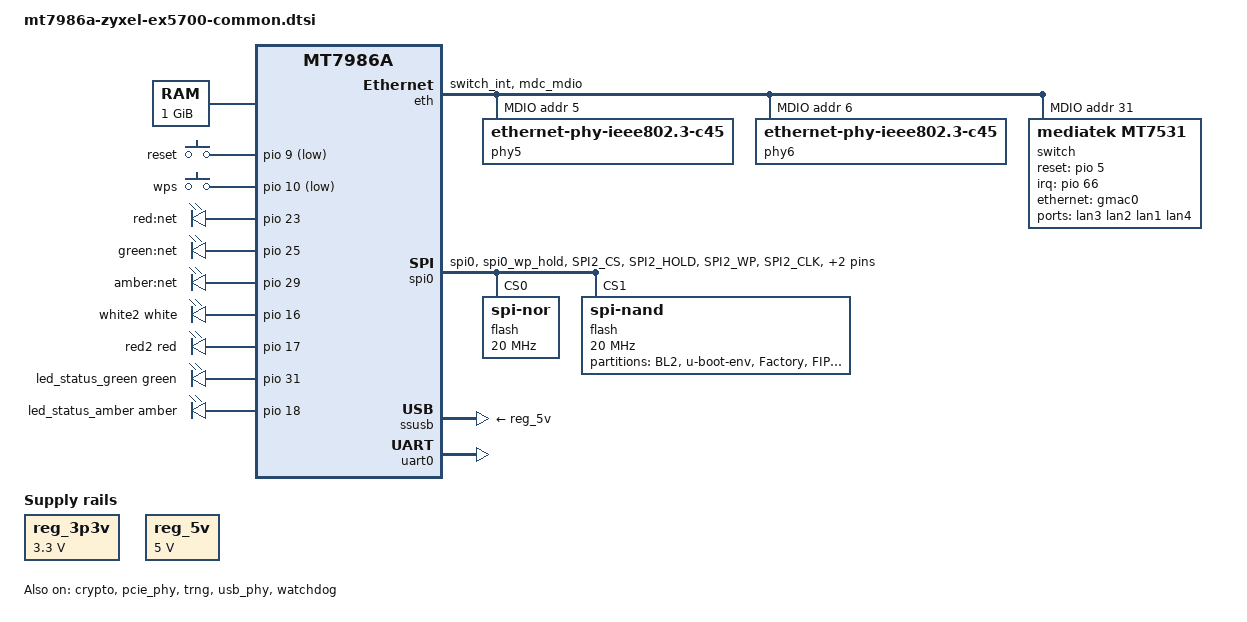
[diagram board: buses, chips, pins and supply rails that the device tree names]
// SPDX-License-Identifier: (GPL-2.0 OR MIT)

/dts-v1/;

#include <dt-bindings/gpio/gpio.h>
#include <dt-bindings/input/input.h>
#include <dt-bindings/leds/common.h>

#include "mt7986a.dtsi"

/ {
	aliases {
		ethernet0 = &gmac0;
		led-boot = &led_status_green;
		led-failsafe = &led_status_green;
		led-running = &led_status_green;
		led-upgrade = &led_status_amber;
		serial0 = &uart0;
	};

	chosen {
		bootargs = "earlycon=uart8250,mmio32,0x11002000 console=ttyS0,115200n8";
		stdout-path = "serial0:115200n8";
	};

	memory {
		reg = <0 0x40000000 0 0x40000000>;
	};

	reg_3p3v: regulator-3p3v {
		compatible = "regulator-fixed";
		regulator-name = "fixed-3.3V";
		regulator-min-microvolt = <3300000>;
		regulator-max-microvolt = <3300000>;
		regulator-boot-on;
		regulator-always-on;
	};

	reg_5v: regulator-5v {
		compatible = "regulator-fixed";
		regulator-name = "fixed-5V";
		regulator-min-microvolt = <5000000>;
		regulator-max-microvolt = <5000000>;
		regulator-boot-on;
		regulator-always-on;
	};


	gpio-keys {
		compatible = "gpio-keys";
		poll-interval = <20>;

		button-reset {
			label = "reset";
			gpios = <&pio 9 GPIO_ACTIVE_LOW>;
			linux,code = <KEY_RESTART>;
		};

		button-wps {
			label = "wps";
			gpios = <&pio 10 GPIO_ACTIVE_LOW>;
			linux,code = <KEY_WPS_BUTTON>;
		};
	};

	gpio-leds {
		compatible = "gpio-leds";

		red1 {
			label = "red:net";
			gpios = <&pio 23 GPIO_ACTIVE_HIGH>;
			default-state = "off";
		};

		green1 {
			label = "green:net";
			gpios = <&pio 25 GPIO_ACTIVE_HIGH>;
			default-state = "off";
		};

		amber1 {
			label = "amber:net";
			gpios = <&pio 29 GPIO_ACTIVE_HIGH>;
			default-state = "off";
		};

		white2 {
			color = <LED_COLOR_ID_WHITE>;
			function = LED_FUNCTION_STATUS;
			gpios = <&pio 16 GPIO_ACTIVE_HIGH>;
			default-state = "off";
		};

		red2 {
			color = <LED_COLOR_ID_RED>;
			function = LED_FUNCTION_STATUS;
			gpios = <&pio 17 GPIO_ACTIVE_HIGH>;
			default-state = "off";
		};

		led_status_green: green2 {
			color = <LED_COLOR_ID_GREEN>;
			function = LED_FUNCTION_STATUS;
			gpios = <&pio 31 GPIO_ACTIVE_HIGH>;
			default-state = "off";
		};

		led_status_amber: amber2 {
			color = <LED_COLOR_ID_AMBER>;
			function = LED_FUNCTION_STATUS;
			gpios = <&pio 18 GPIO_ACTIVE_HIGH>;
			default-state = "off";
		};
	};

};

&crypto {
	status = "okay";
};

&eth {
	status = "okay";
	pinctrl-names = "default";
	pinctrl-0 = <&eth_pins>;

	gmac0: mac@0 {
		compatible = "mediatek,eth-mac";
		reg = <0>;
		phy-mode = "2500base-x";

		fixed-link {
			speed = <2500>;
			full-duplex;
			pause;
		};
	};

	mac1: mac@1 {
		compatible = "mediatek,eth-mac";
		reg = <1>;
		label = "wan";
		phy-mode = "2500base-x";
		phy-handle = <&phy6>;
	};

	mdio: mdio-bus {
		#address-cells = <1>;
		#size-cells = <0>;
	};
};

&mdio {
	reset-gpios = <&pio 6 GPIO_ACTIVE_LOW>;
	reset-delay-us = <50000>;
	reset-post-delay-us = <20000>;

	phy5: phy@5 {
		compatible = "ethernet-phy-ieee802.3-c45";
		reg = <5>;
		mxl,led-config = <0x03f0 0x0 0x0 0x0>;
	};

	phy6: phy@6 {
		compatible = "ethernet-phy-ieee802.3-c45";
		reg = <6>;
		mxl,led-config = <0x03f0 0x0 0x0 0x0>;
	};

	switch: switch@1f {
		compatible = "mediatek,mt7531";
		reg = <31>;
		reset-gpios = <&pio 5 GPIO_ACTIVE_HIGH>;
		interrupt-controller;
		#interrupt-cells = <1>;
		interrupt-parent = <&pio>;
		interrupts = <66 IRQ_TYPE_LEVEL_HIGH>;
	};
};

&switch {
	ports {
		#address-cells = <1>;
		#size-cells = <0>;

		port@0 {
			reg = <0>;
			label = "lan3";
		};

		port@1 {
			reg = <1>;
			label = "lan2";
		};

		port@2 {
			reg = <2>;
			label = "lan1";
		};

		port@5 {
			reg = <5>;
			label = "lan4";
			phy-mode = "2500base-x";
			phy-handle = <&phy5>;
		};

		port@6 {
			reg = <6>;
			ethernet = <&gmac0>;
			phy-mode = "2500base-x";

			fixed-link {
				speed = <2500>;
				full-duplex;
				pause;
			};
		};
	};
};

&spi0 {
	pinctrl-names = "default";
	pinctrl-0 = <&spi_flash_pins>;
	cs-gpios = <0>, <0>;
	status = "okay";

	flash@0 {
		compatible = "jedec,spi-nor";
		reg = <0>;
		spi-max-frequency = <20000000>;
	};

	flash@1 {
		compatible = "spi-nand";
		reg = <1>;

		mediatek,nmbm;
		mediatek,bmt-max-ratio = <1>;
		mediatek,bmt-max-reserved-blocks = <64>;

		spi-max-frequency = <20000000>;
		spi-tx-bus-width = <4>;
		spi-rx-bus-width = <4>;

		partitions {
			compatible = "fixed-partitions";
			#address-cells = <1>;
			#size-cells = <1>;

			partition@0 {
				label = "BL2";
				reg = <0x000000 0x100000>;
				read-only;
			};

			partition@100000 {
				label = "u-boot-env";
				reg = <0x100000 0x80000>;
			};

			factory: partition@180000 {
				label = "Factory";
				reg = <0x180000 0x200000>;
				read-only;
			};

			partition@380000 {
				label = "FIP";
				reg = <0x380000 0x200000>;
				read-only;
			};

			partition@580000 {
				label = "ubi";
				reg = <0x580000 0x1da80000>;
			};
		};
	};
};

&pio {
	eth_pins: eth-pins {
		mux {
			function = "eth";
			groups = "switch_int", "mdc_mdio";
		};
	};

	pcie_pins: pcie-pins {
		mux {
			function = "pcie";
			groups = "pcie_pereset";
		};
	};

	spi_flash_pins: spi-flash-pins-33-to-38 {
		mux {
			function = "spi";
			groups = "spi0", "spi0_wp_hold";
		};
		conf-pu {
			pins = "SPI2_CS", "SPI2_HOLD", "SPI2_WP";
			drive-strength = <8>;
			mediatek,pull-up-adv = <0>;
		};
		conf-pd {
			pins = "SPI2_CLK", "SPI2_MOSI", "SPI2_MISO";
			drive-strength = <8>;
			mediatek,pull-down-adv = <0>;
		};
	};
};

&pcie_phy {
	status = "okay";
};

&ssusb {
	vusb33-supply = <&reg_3p3v>;
	vbus-supply = <&reg_5v>;
	status = "okay";
};

&trng {
	status = "okay";
};

&uart0 {
	status = "okay";
};

&usb_phy {
	status = "okay";
};

&watchdog {
	status = "okay";
};
